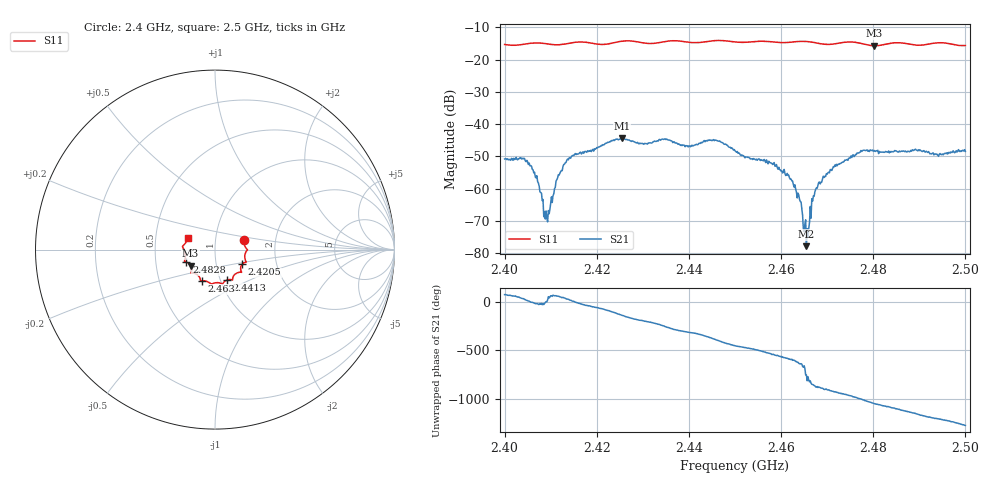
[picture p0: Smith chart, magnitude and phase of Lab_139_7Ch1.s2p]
# Hz S RI R 50
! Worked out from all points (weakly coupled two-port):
!   601 points, 2.4 GHz to 2.5 GHz, reference 50 ohm
!   highest |S21| = -44.44 dB at 2.4255 GHz (marker M1); lowest = -77.9 dB at 2.4655 GHz (marker M2)
!   lowest |S11| = -15.7 dB at 2.4802 GHz (marker M3), VSWR 1.39, Z = 37.5 - j6.96 ohm
!   |S11| at or under -10 dB: start of sweep to end of sweep
!   S12 and S22 are empty: the file has one direction only
!   S11 on the Smith chart (normalised r, x): 2.4 GHz: 1.38, +0.15; 2.4205 GHz: 1.34, -0.22; 2.4413 GHz: 1.07, -0.38; 2.463 GHz: 0.82, -0.29; 2.4828 GHz: 0.72, -0.10; 2.5 GHz: 0.73, +0.10
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2.4e9  0.1627 0.0524  0.000579 0.00281  0 0  0 0
2.405333e9  0.1776 0.00276  0.00244 0.00047  0 0  0 0
2.407e9  0.1808 -0.000617  0.00153 -0.000406  0 0  0 0
2.409e9  0.1755 -0.00738  0.000447 3.89e-05  0 0  0 0
2.413167e9  0.1667 -0.05  0.00195 0.00158  0 0  0 0
2.416667e9  0.1736 -0.0694  0.00324 -0.00112  0 0  0 0
2.4205e9  0.1519 -0.0807  0.0021 -0.00387  0 0  0 0
2.4255e9  0.1472 -0.1243  -0.00438 -0.00409  0 0  0 0
2.433333e9  0.1005 -0.1515  -0.00358 0.0041  0 0  0 0
2.441333e9  0.0669 -0.1694  0.00373 0.00291  0 0  0 0
2.445667e9  0.0427 -0.1917  0.00507 -0.00246  0 0  0 0
2.45e9  0.0248 -0.1855  -0.00019 -0.00385  0 0  0 0
2.4585e9  -0.0336 -0.183  -0.00251 0.000301  0 0  0 0
2.463e9  -0.0723 -0.1737  -0.00045 0.00105  0 0  0 0
2.4655e9  -0.0801 -0.1726  0.000103 -7.55e-05  0 0  0 0
2.466667e9  -0.0812 -0.1674  -0.000462 -0.000519  0 0  0 0
2.467833e9  -0.0839 -0.1588  -0.000917 -0.000417  0 0  0 0
2.471167e9  -0.1099 -0.1335  -0.00186 0.000823  0 0  0 0
2.480167e9  -0.1362 -0.0904  0.00342 0.00187  0 0  0 0
2.482833e9  -0.1588 -0.07  0.00371 -0.000153  0 0  0 0
2.483333e9  -0.1627 -0.0681  0.0038 -0.000315  0 0  0 0
2.5e9  -0.1517 0.0642  -0.00356 0.00124  0 0  0 0
